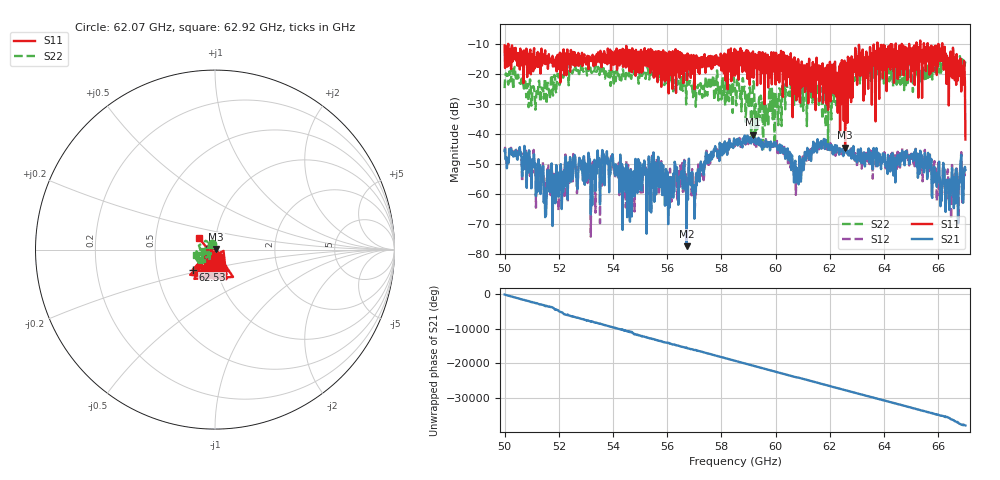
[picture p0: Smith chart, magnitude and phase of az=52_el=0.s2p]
!Created with skrf (http://scikit-rf.org).
# GHz S RI R 50.0
!freq ReS11 ImS11 ReS21 ImS21 ReS12 ImS12 ReS22 ImS22
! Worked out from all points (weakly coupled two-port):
!   1001 points, 50 GHz to 67 GHz, reference 50 ohm
!   highest |S21| = -40.07 dB at 59.15 GHz (marker M1); lowest = -77.3 dB at 56.72 GHz (marker M2)
!   lowest |S11| = -44.5 dB at 62.56 GHz (marker M3), VSWR 1.01, Z = 50.6 + j0.141 ohm
!   |S11| at or under -10 dB: 50.14 GHz to 63.75 GHz (13.61 GHz wide, 23.9 % of centre); 63.76 GHz to 64.25 GHz (490.2 MHz wide, 0.766 % of centre); 66.15 GHz to end of sweep (the widest 3 of 14)
!   |S22| runs from -45.5 to -13.9 dB; largest |S21 - S12| = 0.0021
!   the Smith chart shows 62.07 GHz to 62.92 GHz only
!   S11 on the Smith chart (normalised r, x): 62.07 GHz: 1.04, -0.09; 62.53 GHz: 0.76, -0.17; 62.92 GHz: 0.83, +0.11
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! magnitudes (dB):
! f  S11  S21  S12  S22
! 50 GHz  -10.3  -45.6  -45.6  -24.6
! 51.53 GHz  -16.1  -67.0  -61.7  -28.1
! 52.84 GHz  -14.4  -51.9  -51.2  -19.5
! 53.26 GHz  -14.2  -50.1  -49.1  -19.1
! 53.96 GHz  -14.8  -47.6  -47.9  -18.8
! 54.66 GHz  -16.0  -51.9  -51.6  -21.2
! 55.68 GHz  -13.9  -47.7  -48.7  -22.3
! 56.72 GHz  -15.4  -77.3  -61.3  -25.4
! 56.97 GHz  -13.5  -59.9  -57.6  -25.2
! 57.48 GHz  -17.4  -49.6  -48.0  -27.1
! 58.5 GHz  -20.4  -43.2  -43.0  -24.8
! 59.15 GHz  -14.4  -40.1  -40.1  -28.8
! 60.76 GHz  -28.5  -54.1  -55.7  -28.7
! 61.34 GHz  -23.7  -45.7  -47.0  -26.4
! 62.07 GHz  -26.2  -43.6  -44.9  -28.8
! 62.53 GHz  -15.6  -44.4  -45.5  -19.1
! 62.56 GHz  -44.5  -44.8  -45.1  -20.1
! 62.92 GHz  -19.2  -48.5  -48.8  -19.3
! 64.18 GHz  -17.5  -48.2  -50.7  -18.4
! 66.08 GHz  -15.6  -64.0  -57.0  -15.5
! 66.9 GHz  -17.1  -57.3  -60.4  -15.1
! 67 GHz  -41.7  -51.8  -51.5  -15.7
